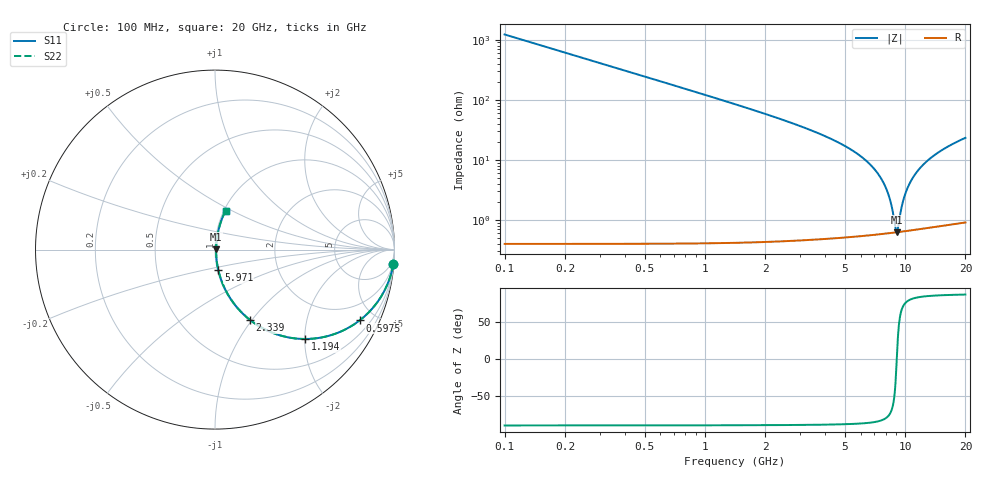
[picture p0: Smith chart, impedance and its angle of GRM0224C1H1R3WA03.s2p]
!Murata Part Number: GRM0224C1H1R3WA03
!These Parameters are Measured in Series Mode Connection
!Data Generated on Mar 30, 2021
!  o--ll--o
!Port1  Port2
!  o------o
!Operation Temp=25[degC], DC Bias Voltage=0[V]
!Freq. Start=100[MHz] Stop=20[GHz] 401[Steps]
# Hz S RI R 50
!Freq.(Hz) S11(Real) S11(Imag) S21(Real) S21(Imag) S12(Real) S12(Imag) S22(Real) S22(Imag)
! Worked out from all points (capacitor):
!   401 points, 100 MHz to 20 GHz, reference 50 ohm
!   read as one part in series: C = 1.3 pF near 199.5 MHz
!   lowest |Z| = 624 mohm at 9.105 GHz (marker M1)
!   series resonance near 9.083 GHz, so ESL is about 240 pH
!   S11 on the Smith chart (normalised r, x): 100 MHz: 1, -24; 597.5 MHz: 1.01, -4.08; 1.194 GHz: 1.01, -2.01; 2.339 GHz: 1.01, -0.98; 5.971 GHz: 1.01, -0.23; 20 GHz: 1.02, +0.46
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1e8  0.9933 -0.0811  0.00666 0.0811  0.00666 0.0811  0.9933 -0.0811
3.4875e8  0.9245 -0.2637  0.0755 0.2637  0.0755 0.2637  0.9245 -0.2637
5.975e8  0.8058 -0.3946  0.1942 0.3946  0.1942 0.3946  0.8058 -0.3946
8.96e8  0.6462 -0.4766  0.3538 0.4766  0.3538 0.4766  0.6462 -0.4766
1.1945e9  0.5034 -0.498  0.4966 0.498  0.4966 0.498  0.5034 -0.498
1.74175e9  0.3151 -0.4615  0.6849 0.4615  0.6849 0.4615  0.3151 -0.4615
2.33875e9  0.1947 -0.3915  0.8053 0.3915  0.8053 0.3915  0.1947 -0.3915
3.43325e9  0.0887 -0.2768  0.9113 0.2768  0.9113 0.2768  0.0887 -0.2768
5.9705e9  0.0184 -0.1133  0.9816 0.1133  0.9816 0.1133  0.0184 -0.1133
6.7665e9  0.0118 -0.0788  0.9882 0.0788  0.9882 0.0788  0.0118 -0.0788
7.51275e9  0.00829 -0.0505  0.9917 0.0505  0.9917 0.0505  0.00829 -0.0505
8.10975e9  0.0068 -0.0301  0.9932 0.0301  0.9932 0.0301  0.0068 -0.0301
8.5575e9  0.00626 -0.0158  0.9937 0.0158  0.9937 0.0158  0.00626 -0.0158
8.9555e9  0.00614 -0.00375  0.9939 0.00375  0.9939 0.00375  0.00614 -0.00375
9.10475e9  0.00617 0.000621  0.9938 -0.000621  0.9938 -0.000621  0.00617 0.000621
9.652e9  0.00658 0.0161  0.9934 -0.0161  0.9934 -0.0161  0.00658 0.0161
1.005e10  0.00716 0.0268  0.9928 -0.0268  0.9928 -0.0268  0.00716 0.0268
1.059725e10  0.00827 0.0408  0.9917 -0.0408  0.9917 -0.0408  0.00827 0.0408
1.13435e10  0.0103 0.0589  0.9897 -0.0589  0.9897 -0.0589  0.0103 0.0589
1.338325e10  0.0183 0.1034  0.9817 -0.1034  0.9817 -0.1034  0.0183 0.1034
1.67165e10  0.0365 0.165  0.9635 -0.165  0.9635 -0.165  0.0365 0.165
2e10  0.0588 0.2166  0.9412 -0.2166  0.9412 -0.2166  0.0588 0.2166
